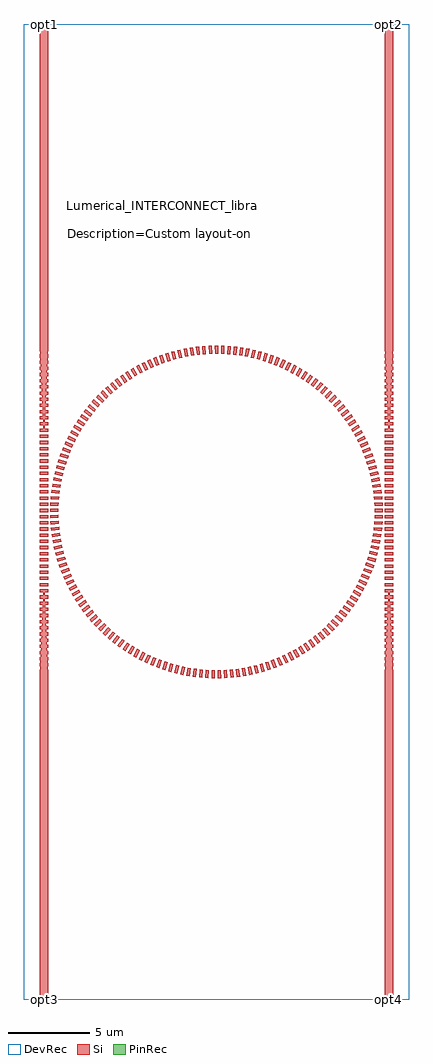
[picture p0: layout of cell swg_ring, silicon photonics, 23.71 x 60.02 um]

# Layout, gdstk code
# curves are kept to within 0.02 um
import gdstk
lib = gdstk.Library(unit=1e-6, precision=1e-09)
def R(c, l, rs):  # rectangles x0, y0, x1, y1
    for r in rs: c.add(gdstk.rectangle(r[:2], r[2:], *l))
def A(c, l, x, y, w, h, nx, ny, dx, dy):  # array of equal rectangles
    R(c, l, [(x+i*dx, y+j*dy, x+i*dx+w, y+j*dy+h) for i in range(nx) for j in range(ny)])
def P(c, l, *ps):  # polygons
    for p in ps: c.add(gdstk.Polygon(p, *l))
Si = (1, 0)
PinRec = (1, 10)
DevRec = (68, 0)

swg_ring = lib.new_cell('swg_ring')
A(swg_ring, Si, 0, 25.44, 0.5, 0.19, 1, 25, 0, 0.38)
A(swg_ring, Si, 21.214, 25.44, 0.5, 0.19, 1, 25, 0, 0.38)
P(swg_ring, Si, [(10.766,39.729),(10.762,40.229),(10.956,40.229),(10.951,39.729)],
  [(19.889,33.615),(19.819,33.787),(20.279,33.981),(20.353,33.801)],
  [(19.745,33.957),(19.668,34.125),(20.121,34.337),(20.202,34.16)],
  [(19.588,34.292),(19.505,34.458),(19.949,34.687),(20.037,34.513)],
  [(19.418,34.621),(19.329,34.784),(19.764,35.029),(19.858,34.859)],
  [(19.236,34.944),(19.141,35.103),(19.566,35.365),(19.667,35.198)],
  [(19.042,35.259),(18.94,35.414),(19.356,35.692),(19.463,35.53)],
  [(18.836,35.567),(18.728,35.718),(19.133,36.012),(19.246,35.853)],
  [(18.618,35.867),(18.505,36.013),(18.898,36.323),(19.017,36.168)],
  [(18.389,36.158),(18.271,36.3),(18.652,36.624),(18.776,36.474)],
  [(18.149,36.44),(18.025,36.578),(18.394,36.916),(18.524,36.771)],
  [(17.899,36.713),(17.77,36.846),(18.125,37.198),(18.261,37.058)],
  [(17.638,36.976),(17.504,37.104),(17.846,37.469),(17.987,37.335)],
  [(17.368,37.229),(17.229,37.352),(17.556,37.73),(17.702,37.601)],
  [(17.088,37.472),(16.944,37.589),(17.257,37.979),(17.408,37.856)],
  [(16.799,37.704),(16.651,37.815),(16.949,38.217),(17.104,38.1)],
  [(16.501,37.924),(16.349,38.03),(16.632,38.443),(16.791,38.332)],
  [(16.196,38.133),(16.04,38.234),(16.306,38.657),(16.47,38.551)],
  [(15.882,38.331),(15.723,38.425),(15.973,38.858),(16.14,38.759)],
  [(15.561,38.516),(15.398,38.604),(15.632,39.046),(15.803,38.954)],
  [(15.234,38.689),(15.068,38.771),(15.284,39.221),(15.459,39.136)],
  [(14.9,38.849),(14.731,38.925),(14.93,39.383),(15.108,39.304)],
  [(14.56,38.997),(14.388,39.066),(14.57,39.532),(14.75,39.459)],
  [(14.215,39.131),(14.04,39.193),(14.204,39.666),(14.387,39.6)],
  [(13.865,39.252),(13.688,39.308),(13.834,39.786),(14.019,39.728)],
  [(13.51,39.36),(13.332,39.409),(13.459,39.893),(13.647,39.841)],
  [(13.152,39.454),(12.972,39.496),(13.081,39.984),(13.27,39.94)],
  [(12.791,39.535),(12.609,39.57),(12.699,40.062),(12.89,40.025)],
  [(12.426,39.602),(12.243,39.63),(12.314,40.125),(12.507,40.095)],
  [(12.06,39.654),(11.876,39.676),(11.928,40.173),(12.121,40.151)],
  [(11.691,39.693),(11.507,39.707),(11.54,40.206),(11.734,40.191)],
  [(11.322,39.718),(11.137,39.725),(11.151,40.225),(11.346,40.217)],
  [(21.214,34.94),(21.214,35.13),(21.431,35.13),(21.423,35.32),(21.214,35.32),(21.214,35.51),(21.415,35.51),(21.406,35.7),(21.214,35.7),(21.214,35.89),(21.398,35.89),(21.39,36.08),(21.214,36.08),(21.214,36.27),(21.381,36.27),(21.373,36.46),(21.214,36.46),(21.214,36.65),(21.364,36.65),(21.356,36.84),(21.214,36.84),(21.214,37.03),(21.348,37.03),(21.339,37.22),(21.214,37.22),(21.214,37.41),(21.331,37.41),(21.323,37.6),(21.214,37.6),(21.214,37.79),(21.314,37.79),(21.306,37.98),(21.214,37.98),(21.214,38.17),(21.298,38.17),(21.289,38.36),(21.214,38.36),(21.214,38.55),(21.281,38.55),(21.273,38.74),(21.214,38.74),(21.214,38.93),(21.264,38.93),(21.256,39.12),(21.214,39.12),(21.214,39.31),(21.247,39.31),(21.239,39.5),(21.214,39.5),(21.214,60),(21.714,60),(21.714,39.5),(21.689,39.5),(21.681,39.31),(21.714,39.31),(21.714,39.12),(21.672,39.12),(21.664,38.93),(21.714,38.93),(21.714,38.74),(21.655,38.74),(21.647,38.55),(21.714,38.55),(21.714,38.36),(21.639,38.36),(21.63,38.17),(21.714,38.17),(21.714,37.98),(21.622,37.98),(21.614,37.79),(21.714,37.79),(21.714,37.6),(21.605,37.6),(21.597,37.41),(21.714,37.41),(21.714,37.22),(21.589,37.22),(21.58,37.03),(21.714,37.03),(21.714,36.84),(21.572,36.84),(21.564,36.65),(21.714,36.65),(21.714,36.46),(21.555,36.46),(21.547,36.27),(21.714,36.27),(21.714,36.08),(21.538,36.08),(21.53,35.89),(21.714,35.89),(21.714,35.7),(21.522,35.7),(21.513,35.51),(21.714,35.51),(21.714,35.32),(21.505,35.32),(21.497,35.13),(21.714,35.13),(21.714,34.94)],
  [(20.02,33.269),(19.956,33.443),(20.424,33.62),(20.491,33.437)],
  [(20.586,30),(20.584,30.185),(21.084,30.195),(21.086,30)],
  [(20.579,30.37),(20.57,30.555),(21.069,30.584),(21.079,30.389)],
  [(20.558,30.74),(20.542,30.925),(21.04,30.972),(21.056,30.778)],
  [(20.523,31.109),(20.5,31.293),(20.995,31.359),(21.019,31.166)],
  [(20.473,31.476),(20.444,31.659),(20.936,31.744),(20.968,31.552)],
  [(20.41,31.841),(20.373,32.023),(20.863,32.126),(20.901,31.936)],
  [(20.333,32.203),(20.29,32.383),(20.774,32.506),(20.82,32.317)],
  [(20.242,32.562),(20.192,32.741),(20.672,32.882),(20.725,32.694)],
  [(20.138,32.918),(20.081,33.094),(20.555,33.253),(20.615,33.068)],
  [(1.577,32.921),(1.1,33.072),(1.16,33.257),(1.634,33.098)],
  [(4.349,37.232),(4.015,37.604),(4.161,37.732),(4.488,37.354)],
  [(4.629,37.474),(4.309,37.858),(4.46,37.982),(4.772,37.592)],
  [(4.918,37.706),(4.613,38.102),(4.768,38.219),(5.066,37.818)],
  [(1.241,31.48),(0.747,31.556),(0.778,31.748),(1.271,31.662)],
  [(5.216,37.927),(4.926,38.334),(5.086,38.445),(5.368,38.032)],
  [(1.695,33.273),(1.224,33.441),(1.291,33.623),(1.759,33.446)],
  [(5.522,38.136),(5.247,38.554),(5.411,38.659),(5.677,38.236)],
  [(5.835,38.333),(5.577,38.761),(5.745,38.86),(5.995,38.427)],
  [(1.826,33.619),(1.362,33.805),(1.436,33.985),(1.897,33.79)],
  [(6.156,38.518),(5.914,38.956),(6.086,39.048),(6.319,38.606)],
  [(6.484,38.691),(6.259,39.137),(6.434,39.223),(6.65,38.772)],
  [(6.818,38.851),(6.61,39.306),(6.788,39.385),(6.987,38.926)],
  [(1.156,30.744),(0.658,30.782),(0.675,30.976),(1.172,30.928)],
  [(7.157,38.998),(6.967,39.461),(7.148,39.533),(7.329,39.067)],
  [(1.97,33.96),(1.514,34.164),(1.595,34.341),(2.047,34.129)],
  [(7.503,39.132),(7.33,39.602),(7.514,39.667),(7.677,39.195)],
  [(7.853,39.254),(7.698,39.729),(7.884,39.787),(8.029,39.309)],
  [(1.304,31.845),(0.814,31.939),(0.852,32.13),(1.341,32.026)],
  [(8.207,39.361),(8.071,39.842),(8.259,39.894),(8.386,39.41)],
  [(8.565,39.455),(8.448,39.941),(8.637,39.985),(8.746,39.497)],
  [(2.128,34.295),(1.679,34.516),(1.767,34.69),(2.211,34.461)],
  [(8.927,39.536),(8.828,40.026),(9.019,40.063),(9.109,39.571)],
  [(9.291,39.602),(9.211,40.096),(9.403,40.125),(9.474,39.63)],
  [(9.658,39.655),(9.596,40.151),(9.79,40.173),(9.842,39.676)],
  [(10.026,39.693),(9.984,40.192),(10.178,40.206),(10.211,39.708)],
  [(0.628,30.004),(0.63,30.199),(1.13,30.189),(1.128,30.004)],
  [(10.396,39.718),(10.372,40.218),(10.567,40.225),(10.581,39.725)],
  [(2.297,34.625),(1.858,34.862),(1.952,35.033),(2.387,34.787)],
  [(1.382,32.207),(0.895,32.32),(0.941,32.51),(1.425,32.387)],
  [(0,34.94),(0,35.13),(0.217,35.13),(0.209,35.32),(0,35.32),(0,35.51),(0.201,35.51),(0.192,35.7),(0,35.7),(0,35.89),(0.184,35.89),(0.176,36.08),(0,36.08),(0,36.27),(0.167,36.27),(0.159,36.46),(0,36.46),(0,36.65),(0.15,36.65),(0.142,36.84),(0,36.84),(0,37.03),(0.134,37.03),(0.125,37.22),(0,37.22),(0,37.41),(0.117,37.41),(0.109,37.6),(0,37.6),(0,37.79),(0.1,37.79),(0.092,37.98),(0,37.98),(0,38.17),(0.084,38.17),(0.075,38.36),(0,38.36),(0,38.55),(0.067,38.55),(0.059,38.74),(0,38.74),(0,38.93),(0.05,38.93),(0.042,39.12),(0,39.12),(0,39.31),(0.033,39.31),(0.025,39.5),(0,39.5),(0,60),(0.5,60),(0.5,39.5),(0.475,39.5),(0.467,39.31),(0.5,39.31),(0.5,39.12),(0.458,39.12),(0.45,38.93),(0.5,38.93),(0.5,38.74),(0.441,38.74),(0.433,38.55),(0.5,38.55),(0.5,38.36),(0.425,38.36),(0.416,38.17),(0.5,38.17),(0.5,37.98),(0.408,37.98),(0.4,37.79),(0.5,37.79),(0.5,37.6),(0.391,37.6),(0.383,37.41),(0.5,37.41),(0.5,37.22),(0.375,37.22),(0.366,37.03),(0.5,37.03),(0.5,36.84),(0.358,36.84),(0.35,36.65),(0.5,36.65),(0.5,36.46),(0.341,36.46),(0.333,36.27),(0.5,36.27),(0.5,36.08),(0.324,36.08),(0.316,35.89),(0.5,35.89),(0.5,35.7),(0.308,35.7),(0.299,35.51),(0.5,35.51),(0.5,35.32),(0.291,35.32),(0.283,35.13),(0.5,35.13),(0.5,34.94)],
  [(2.48,34.947),(2.049,35.201),(2.15,35.368),(2.575,35.106)],
  [(2.674,35.262),(2.254,35.533),(2.36,35.696),(2.776,35.417)],
  [(1.135,30.374),(0.636,30.393),(0.645,30.588),(1.144,30.559)],
  [(2.88,35.57),(2.47,35.856),(2.583,36.015),(2.988,35.721)],
  [(1.192,31.113),(0.695,31.17),(0.719,31.363),(1.215,31.296)],
  [(3.098,35.87),(2.699,36.171),(2.818,36.326),(3.211,36.016)],
  [(1.472,32.566),(0.99,32.698),(1.043,32.885),(1.523,32.744)],
  [(3.327,36.161),(2.94,36.477),(3.065,36.627),(3.446,36.303)],
  [(3.567,36.443),(3.193,36.774),(3.323,36.919),(3.691,36.581)],
  [(3.818,36.716),(3.456,37.061),(3.592,37.201),(3.947,36.849)],
  [(4.078,36.979),(3.73,37.338),(3.871,37.472),(4.213,37.107)],
  [(5.908,21.048),(5.738,21.144),(5.988,21.577),(6.149,21.486)],
  [(5.57,21.243),(5.405,21.345),(5.671,21.768),(5.829,21.671)],
  [(5.241,21.451),(5.079,21.559),(5.362,21.972),(5.515,21.869)],
  [(4.919,21.671),(4.762,21.785),(5.06,22.187),(5.21,22.078)],
  [(4.607,21.903),(4.454,22.023),(4.767,22.413),(4.912,22.298)],
  [(4.303,22.146),(4.155,22.273),(4.482,22.65),(4.623,22.53)],
  [(4.009,22.402),(3.865,22.533),(4.207,22.898),(4.344,22.773)],
  [(3.725,22.668),(3.586,22.805),(3.942,23.157),(4.073,23.026)],
  [(3.451,22.945),(3.318,23.087),(3.686,23.425),(3.813,23.29)],
  [(3.187,23.232),(3.06,23.379),(3.441,23.703),(3.562,23.563)],
  [(2.935,23.529),(2.814,23.681),(3.207,23.989),(3.323,23.845)],
  [(2.695,23.835),(2.579,23.991),(2.983,24.285),(3.094,24.136)],
  [(2.466,24.15),(2.356,24.311),(2.772,24.589),(2.876,24.436)],
  [(2.249,24.474),(2.146,24.638),(2.571,24.901),(2.67,24.744)],
  [(2.045,24.805),(1.948,24.974),(2.383,25.22),(2.476,25.059)],
  [(0,0),(0,20.69),(0.025,20.69),(0.033,20.88),(0,20.88),(0,21.07),(0.042,21.07),(0.05,21.26),(0,21.26),(0,21.45),(0.059,21.45),(0.067,21.64),(0,21.64),(0,21.83),(0.075,21.83),(0.084,22.02),(0,22.02),(0,22.21),(0.092,22.21),(0.1,22.4),(0,22.4),(0,22.59),(0.109,22.59),(0.117,22.78),(0,22.78),(0,22.97),(0.125,22.97),(0.134,23.16),(0,23.16),(0,23.35),(0.142,23.35),(0.15,23.54),(0,23.54),(0,23.73),(0.159,23.73),(0.167,23.92),(0,23.92),(0,24.11),(0.176,24.11),(0.184,24.3),(0,24.3),(0,24.49),(0.192,24.49),(0.201,24.68),(0,24.68),(0,24.87),(0.209,24.87),(0.217,25.06),(0,25.06),(0,25.25),(0.5,25.25),(0.5,25.06),(0.283,25.06),(0.291,24.87),(0.5,24.87),(0.5,24.68),(0.299,24.68),(0.308,24.49),(0.5,24.49),(0.5,24.3),(0.316,24.3),(0.324,24.11),(0.5,24.11),(0.5,23.92),(0.333,23.92),(0.341,23.73),(0.5,23.73),(0.5,23.54),(0.35,23.54),(0.358,23.35),(0.5,23.35),(0.5,23.16),(0.366,23.16),(0.375,22.97),(0.5,22.97),(0.5,22.78),(0.383,22.78),(0.391,22.59),(0.5,22.59),(0.5,22.4),(0.4,22.4),(0.408,22.21),(0.5,22.21),(0.5,22.02),(0.416,22.02),(0.425,21.83),(0.5,21.83),(0.5,21.64),(0.433,21.64),(0.441,21.45),(0.5,21.45),(0.5,21.26),(0.45,21.26),(0.458,21.07),(0.5,21.07),(0.5,20.88),(0.467,20.88),(0.475,20.69),(0.5,20.69),(0.5,0)],
  [(1.854,25.144),(1.763,25.317),(2.208,25.546),(2.294,25.382)],
  [(1.676,25.491),(1.591,25.666),(2.044,25.878),(2.124,25.711)],
  [(1.511,25.844),(1.433,26.022),(1.894,26.217),(1.967,26.047)],
  [(1.359,26.202),(1.289,26.384),(1.756,26.561),(1.823,26.388)],
  [(1.221,26.567),(1.158,26.751),(1.632,26.909),(1.692,26.734)],
  [(1.098,26.936),(1.041,27.122),(1.521,27.263),(1.575,27.086)],
  [(0.988,27.31),(0.939,27.498),(1.424,27.62),(1.471,27.441)],
  [(0.893,27.687),(0.851,27.877),(1.34,27.981),(1.38,27.8)],
  [(0.812,28.068),(0.777,28.26),(1.27,28.345),(1.303,28.163)],
  [(0.746,28.452),(0.718,28.645),(1.214,28.711),(1.24,28.528)],
  [(0.694,28.838),(0.674,29.032),(1.172,29.079),(1.191,28.895)],
  [(0.657,29.226),(0.644,29.42),(1.144,29.448),(1.156,29.264)],
  [(0.635,29.615),(0.63,29.809),(1.13,29.818),(1.135,29.633)],
  [(10.754,19.772),(10.559,19.775),(10.574,20.275),(10.759,20.271)],
  [(10.365,19.783),(10.17,19.794),(10.204,20.293),(10.389,20.282)],
  [(9.976,19.809),(9.782,19.828),(9.835,20.325),(10.019,20.307)],
  [(9.589,19.85),(9.396,19.876),(9.467,20.371),(9.651,20.346)],
  [(9.203,19.906),(9.011,19.939),(9.102,20.431),(9.284,20.399)],
  [(8.82,19.976),(8.63,20.016),(8.739,20.504),(8.92,20.466)],
  [(8.44,20.061),(8.251,20.108),(8.379,20.592),(8.558,20.546)],
  [(8.063,20.16),(7.877,20.215),(8.022,20.693),(8.2,20.641)],
  [(7.691,20.273),(7.506,20.335),(7.67,20.808),(7.846,20.749)],
  [(7.323,20.401),(7.141,20.47),(7.322,20.936),(7.496,20.87)],
  [(6.96,20.542),(6.781,20.618),(6.98,21.077),(7.151,21.005)],
  [(6.603,20.698),(6.427,20.78),(6.643,21.231),(6.811,21.152)],
  [(6.252,20.866),(6.079,20.956),(6.312,21.398),(6.477,21.313)],
  [(20.351,26.191),(19.887,26.378),(19.954,26.55),(20.421,26.373)],
  [(12.499,19.904),(12.419,20.397),(12.602,20.429),(12.691,19.937)],
  [(17.402,22.139),(17.082,22.523),(17.223,22.643),(17.551,22.265)],
  [(20.489,26.556),(20.018,26.724),(20.079,26.899),(20.552,26.74)],
  [(14.38,20.397),(14.208,20.866),(14.381,20.932),(14.562,20.466)],
  [(17.697,22.394),(17.362,22.766),(17.499,22.891),(17.84,22.525)],
  [(20.613,26.925),(20.136,27.075),(20.19,27.252),(20.67,27.111)],
  [(11.726,19.808),(11.684,20.306),(11.868,20.324),(11.92,19.826)],
  [(17.981,22.66),(17.633,23.019),(17.765,23.149),(18.12,22.797)],
  [(20.723,27.298),(20.241,27.43),(20.288,27.61),(20.772,27.487)],
  [(14.743,20.538),(14.553,21),(14.724,21.072),(14.923,20.614)],
  [(18.255,22.936),(17.894,23.282),(18.02,23.417),(18.389,23.078)],
  [(20.818,27.676),(20.332,27.789),(20.372,27.97),(20.861,27.866)],
  [(12.882,19.974),(12.783,20.464),(12.965,20.502),(13.073,20.014)],
  [(18.519,23.223),(18.144,23.554),(18.266,23.694),(18.647,23.37)],
  [(20.9,28.057),(20.409,28.152),(20.442,28.334),(20.935,28.248)],
  [(15.101,20.693),(14.893,21.148),(15.061,21.226),(15.277,20.775)],
  [(18.771,23.52),(18.384,23.836),(18.5,23.981),(18.893,23.671)],
  [(20.966,28.44),(20.472,28.517),(20.499,28.7),(20.994,28.633)],
  [(11.338,19.782),(11.314,20.282),(11.499,20.292),(11.532,19.793)],
  [(19.012,23.826),(18.614,24.127),(18.724,24.276),(19.128,23.982)],
  [(21.018,28.826),(20.522,28.884),(20.541,29.068),(21.039,29.02)],
  [(15.452,20.861),(15.227,21.308),(15.392,21.392),(15.625,20.95)],
  [(19.241,24.14),(18.832,24.427),(18.936,24.58),(19.351,24.301)],
  [(21.056,29.214),(20.557,29.252),(20.57,29.437),(21.069,29.408)],
  [(13.263,20.058),(13.145,20.544),(13.325,20.589),(13.451,20.105)],
  [(21.078,29.603),(20.579,29.622),(20.584,29.807),(21.084,29.798)],
  [(19.458,24.464),(19.038,24.734),(19.137,24.891),(19.562,24.629)],
  [(15.796,21.043),(15.555,21.48),(15.716,21.571),(15.966,21.138)],
  [(19.663,24.795),(19.232,25.05),(19.325,25.21),(19.76,24.964)],
  [(12.114,19.848),(12.052,20.345),(12.236,20.369),(12.307,19.874)],
  [(16.134,21.237),(15.876,21.665),(16.034,21.762),(16.3,21.339)],
  [(21.214,0),(21.214,20.69),(21.239,20.69),(21.247,20.88),(21.214,20.88),(21.214,21.07),(21.256,21.07),(21.264,21.26),(21.214,21.26),(21.214,21.45),(21.273,21.45),(21.281,21.64),(21.214,21.64),(21.214,21.83),(21.289,21.83),(21.298,22.02),(21.214,22.02),(21.214,22.21),(21.306,22.21),(21.314,22.4),(21.214,22.4),(21.214,22.59),(21.323,22.59),(21.331,22.78),(21.214,22.78),(21.214,22.97),(21.339,22.97),(21.348,23.16),(21.214,23.16),(21.214,23.35),(21.356,23.35),(21.364,23.54),(21.214,23.54),(21.214,23.73),(21.373,23.73),(21.381,23.92),(21.214,23.92),(21.214,24.11),(21.39,24.11),(21.398,24.3),(21.214,24.3),(21.214,24.49),(21.406,24.49),(21.415,24.68),(21.214,24.68),(21.214,24.87),(21.423,24.87),(21.431,25.06),(21.214,25.06),(21.214,25.25),(21.714,25.25),(21.714,25.06),(21.497,25.06),(21.505,24.87),(21.714,24.87),(21.714,24.68),(21.513,24.68),(21.522,24.49),(21.714,24.49),(21.714,24.3),(21.53,24.3),(21.538,24.11),(21.714,24.11),(21.714,23.92),(21.547,23.92),(21.555,23.73),(21.714,23.73),(21.714,23.54),(21.564,23.54),(21.572,23.35),(21.714,23.35),(21.714,23.16),(21.58,23.16),(21.589,22.97),(21.714,22.97),(21.714,22.78),(21.597,22.78),(21.605,22.59),(21.714,22.59),(21.714,22.4),(21.614,22.4),(21.622,22.21),(21.714,22.21),(21.714,22.02),(21.63,22.02),(21.639,21.83),(21.714,21.83),(21.714,21.64),(21.647,21.64),(21.655,21.45),(21.714,21.45),(21.714,21.26),(21.664,21.26),(21.672,21.07),(21.714,21.07),(21.714,20.88),(21.681,20.88),(21.689,20.69),(21.714,20.69),(21.714,0)],
  [(19.855,25.134),(19.415,25.372),(19.501,25.536),(19.946,25.306)],
  [(13.639,20.157),(13.503,20.638),(13.681,20.69),(13.826,20.211)],
  [(16.463,21.444),(16.189,21.862),(16.343,21.965),(16.625,21.553)],
  [(20.033,25.48),(19.585,25.701),(19.665,25.868),(20.118,25.656)],
  [(10.949,19.771),(10.944,20.271),(11.129,20.275),(11.143,19.775)],
  [(16.785,21.664),(16.495,22.071),(16.645,22.18),(16.943,21.778)],
  [(20.199,25.833),(19.742,26.037),(19.816,26.206),(20.276,26.011)],
  [(14.012,20.27),(13.858,20.745),(14.033,20.804),(14.197,20.332)],
  [(17.098,21.896),(16.793,22.292),(16.939,22.406),(17.251,22.016)])
R(swg_ring, DevRec, [(-1,0,22.714,60)])
swg_ring.add(gdstk.FlexPath([(0.25,59.99),(0.25,60.01)], 0.5, ends="flush", simple_path=True, layer=1, datatype=10))  # PinRec
swg_ring.add(gdstk.FlexPath([(21.464,59.99),(21.464,60.01)], 0.5, ends="flush", simple_path=True, layer=1, datatype=10))  # PinRec
swg_ring.add(gdstk.FlexPath([(0.25,0.01),(0.25,-0.01)], 0.5, ends="flush", simple_path=True, layer=1, datatype=10))  # PinRec
swg_ring.add(gdstk.FlexPath([(21.464,0.01),(21.464,-0.01)], 0.5, ends="flush", simple_path=True, layer=1, datatype=10))  # PinRec
swg_ring.add(gdstk.Label('opt1', (0.25,60), layer=1, texttype=10))
swg_ring.add(gdstk.Label('opt2', (21.464,60), layer=1, texttype=10))
swg_ring.add(gdstk.Label('opt3', (0.25,0), layer=1, texttype=10))
swg_ring.add(gdstk.Label('opt4', (21.464,0), layer=1, texttype=10))
swg_ring.add(gdstk.Label('Lumerical_INTERCONNECT_library=None', (7.527,48.85), layer=10, texttype=0))
swg_ring.add(gdstk.Label('Component=Custom_Device', (7.787,48), layer=10, texttype=0))
swg_ring.add(gdstk.Label('Description=Custom layout-only component', (7.347,47.12), layer=10, texttype=0))

lib.write_gds('swg_ring.gds')
